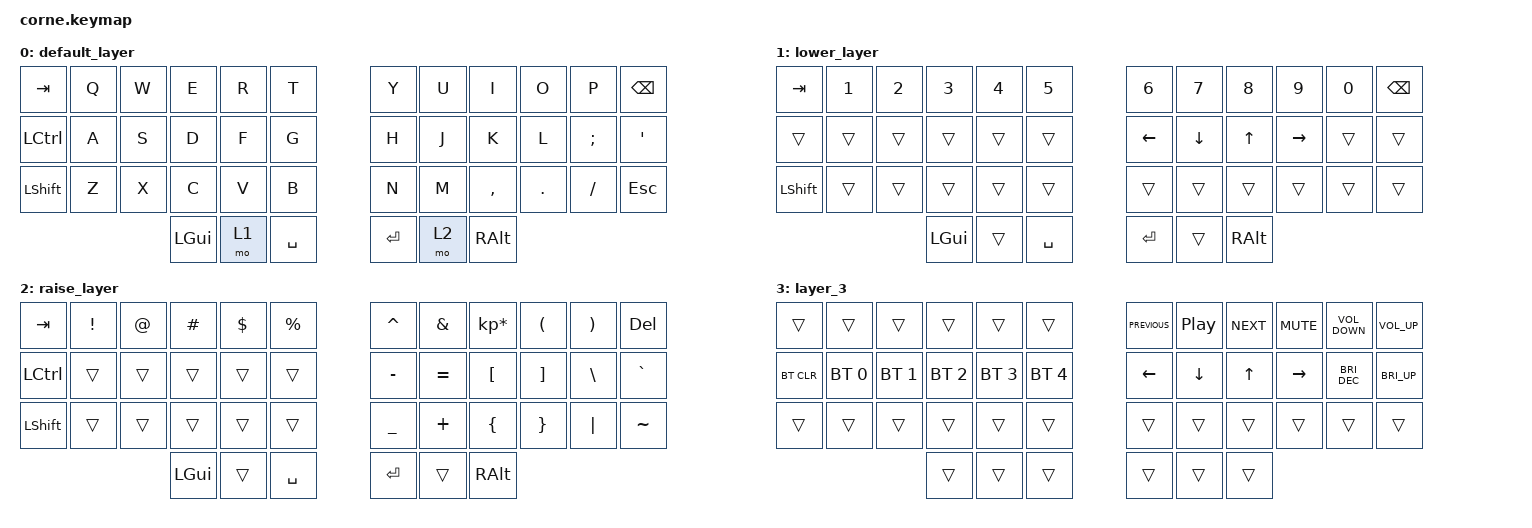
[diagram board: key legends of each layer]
/*
 * Copyright (c) 2020 The ZMK Contributors
 *
 * SPDX-License-Identifier: MIT
 */

#include <behaviors.dtsi>
#include <dt-bindings/zmk/bt.h>
#include <dt-bindings/zmk/keys.h>

/ {
    combos {
        compatible = "zmk,combos";

        vol_up {
            bindings = <&kp C_VOLUME_UP>;
            key-positions = <10 11>;
        };

        vol_down {
            bindings = <&kp C_VOLUME_DOWN>;
            key-positions = <22 23>;
        };

        vol_mute {
            bindings = <&kp K_MUTE>;
            key-positions = <34 35>;
        };

        media_next {
            bindings = <&kp C_NEXT>;
            key-positions = <8 9>;
        };

        media_prev {
            bindings = <&kp C_PREV>;
            key-positions = <6 7>;
        };

        media_play_pause {
            bindings = <&kp C_PLAY_PAUSE>;
            key-positions = <20 21>;
        };

        brightness_up {
            bindings = <&kp C_BRIGHTNESS_INC>;
            key-positions = <3 4>;
        };

        brightness_down {
            bindings = <&kp C_BRIGHTNESS_DEC>;
            key-positions = <1 2>;
        };
    };

    keymap {
        compatible = "zmk,keymap";

        default_layer {
            // -----------------------------------------------------------------------------------------
            // |  TAB |  Q  |  W  |  E  |  R  |  T  |   |  Y  |  U   |  I  |  O  |  P  | BKSP |
            // | CTRL |  A  |  S  |  D  |  F  |  G  |   |  H  |  J   |  K  |  L  |  ;  |  '   |
            // | SHFT |  Z  |  X  |  C  |  V  |  B  |   |  N  |  M   |  ,  |  .  |  /  | ESC  |
            //                    | GUI | LWR | SPC |   | ENT | RSE  | ALT |

            bindings = <
  &kp TAB  &kp Q  &kp W     &kp E  &kp R      &kp T      &kp Y  &kp U      &kp I    &kp O     &kp P  &kp BSPC
&kp LCTRL  &kp A  &kp S     &kp D  &kp F      &kp G      &kp H  &kp J      &kp K    &kp L  &kp SEMI   &kp SQT
&kp LSHFT  &kp Z  &kp X     &kp C  &kp V      &kp B      &kp N  &kp M  &kp COMMA  &kp DOT  &kp FSLH   &kp ESC
                         &kp LGUI  &mo 1  &kp SPACE    &kp RET  &mo 2   &kp RALT
            >;
        };

        lower_layer {
            // -----------------------------------------------------------------------------------------
            // |  TAB |  1  |  2  |  3  |  4  |  5  |   |  6  |  7  |  8  |  9  |  0  | BKSP |
            // | BTCLR| BT1 | BT2 | BT3 | BT4 | BT5 |   | LFT | DWN |  UP | RGT |     |      |
            // | SHFT |     |     |     |     |     |   |     |     |     |     |     |      |
            //                    | GUI |     | SPC |   | ENT |     | ALT |

            bindings = <
  &kp TAB  &kp N1  &kp N2    &kp N3  &kp N4     &kp N5      &kp N6    &kp N7    &kp N8     &kp N9  &kp N0  &kp BSPC
   &trans  &trans  &trans    &trans  &trans     &trans    &kp LEFT  &kp DOWN    &kp UP  &kp RIGHT  &trans    &trans
&kp LSHFT  &trans  &trans    &trans  &trans     &trans      &trans    &trans    &trans     &trans  &trans    &trans
                           &kp LGUI  &trans  &kp SPACE     &kp RET    &trans  &kp RALT
            >;
        };

        raise_layer {
            // -----------------------------------------------------------------------------------------
            // |  TAB |  !  |  @  |  #  |  $  |  %  |   |  ^  |  &  |  *  |  (  |  )  | BKSP |
            // | CTRL |     |     |     |     |     |   |  -  |  =  |  [  |  ]  |  \  |  `   |
            // | SHFT |     |     |     |     |     |   |  _  |  +  |  {  |  }  | "|" |  ~   |
            //                    | GUI |     | SPC |   | ENT |     | ALT |

            bindings = <
  &kp TAB  &kp EXCL  &kp AT  &kp HASH  &kp DLLR  &kp PRCNT    &kp CARET   &kp AMPS  &kp KP_MULTIPLY  &kp LPAR  &kp RPAR    &kp DEL
&kp LCTRL    &trans  &trans    &trans    &trans     &trans    &kp MINUS  &kp EQUAL         &kp LBKT  &kp RBKT  &kp BSLH  &kp GRAVE
&kp LSHFT    &trans  &trans    &trans    &trans     &trans    &kp UNDER   &kp PLUS         &kp LBRC  &kp RBRC  &kp PIPE  &kp TILDE
                             &kp LGUI    &trans  &kp SPACE      &kp RET     &trans         &kp RALT
            >;
        };

        layer_3 {
            bindings = <
    &trans        &trans        &trans        &trans        &trans        &trans    &kp C_PREVIOUS  &kp C_PLAY_PAUSE  &kp C_NEXT  &kp K_MUTE  &kp C_VOLUME_DOWN  &kp C_VOLUME_UP
&bt BT_CLR  &bt BT_SEL 0  &bt BT_SEL 1  &bt BT_SEL 2  &bt BT_SEL 3  &bt BT_SEL 4          &kp LEFT          &kp DOWN      &kp UP   &kp RIGHT      &kp C_BRI_DEC     &kp C_BRI_UP
    &trans        &trans        &trans        &trans        &trans        &trans            &trans            &trans      &trans      &trans             &trans           &trans
                                              &trans        &trans        &trans            &trans            &trans      &trans
            >;
        };
    };
};
